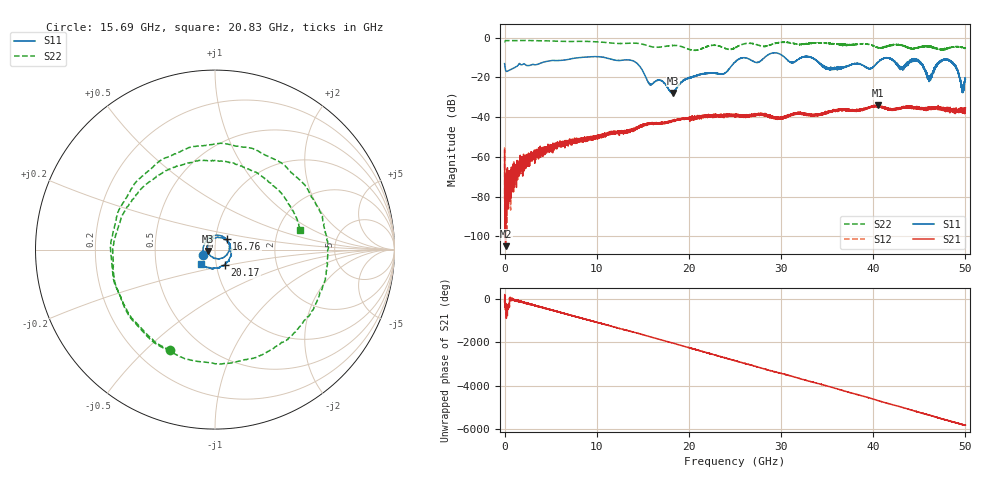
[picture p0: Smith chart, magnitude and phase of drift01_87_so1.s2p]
!Created with skrf (http://scikit-rf.org).
# Hz S RI R 50.0
!freq ReS11 ImS11 ReS21 ImS21 ReS12 ImS12 ReS22 ImS22
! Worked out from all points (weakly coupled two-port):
!   10001 points, 300 kHz to 50 GHz, reference 50 ohm
!   highest |S21| = -34.04 dB at 40.48 GHz (marker M1); lowest = -105.0 dB at 105.3 MHz (marker M2)
!   lowest |S11| = -27.8 dB at 18.27 GHz (marker M3), VSWR 1.09, Z = 46.1 - j0.701 ohm
!   |S11| at or under -10 dB: start of sweep to 8.084 GHz; 10.9 GHz to 28.2 GHz (17.29 GHz wide, 88.5 % of centre); 41.41 GHz to end of sweep (the widest 3 of 13)
!   |S22| runs from -6.4 to -1.4 dB; largest |S21 - S12| = 0.0038
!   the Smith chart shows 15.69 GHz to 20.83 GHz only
!   S11 on the Smith chart (normalised r, x): 15.69 GHz: 0.88, -0.05; 16.76 GHz: 1.13, +0.13; 20.17 GHz: 1.10, -0.19; 20.83 GHz: 0.85, -0.14
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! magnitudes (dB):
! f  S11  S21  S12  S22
! 300 kHz  -13.0  -56.7  -55.3  -2.1
! 105.3 MHz  -16.3  -105.0  -70.0  -1.5
! 260.3 MHz  -16.9  -73.0  -74.0  -1.4
! 2.525 GHz  -14.0  -59.6  -59.9  -1.4
! 8.335 GHz  -9.9  -52.4  -51.1  -1.8
! 13.89 GHz  -11.5  -46.3  -46.4  -2.7
! 15.69 GHz  -23.1  -43.0  -43.2  -4.2
! 16.67 GHz  -21.3  -43.1  -42.8  -4.8
! 16.76 GHz  -21.3  -42.8  -42.9  -4.7
! 18.27 GHz  -27.8  -42.0  -41.8  -3.9
! 20.17 GHz  -19.8  -41.0  -40.6  -6.0
! 20.83 GHz  -19.0  -40.1  -40.0  -6.3
! 25 GHz  -12.2  -39.3  -38.9  -5.0
! 33.34 GHz  -10.0  -38.7  -39.0  -2.7
! 35.25 GHz  -15.7  -36.9  -37.3  -2.9
! 40.48 GHz  -12.5  -34.0  -34.5  -4.8
! 41.67 GHz  -10.2  -36.1  -35.9  -4.1
! 43.08 GHz  -15.3  -35.2  -35.3  -3.8
! 44.82 GHz  -11.2  -35.4  -35.4  -5.1
! 46.1 GHz  -21.3  -35.3  -35.7  -4.3
! 48.09 GHz  -11.3  -36.4  -36.9  -5.2
! 50 GHz  -20.9  -35.4  -36.6  -5.3
